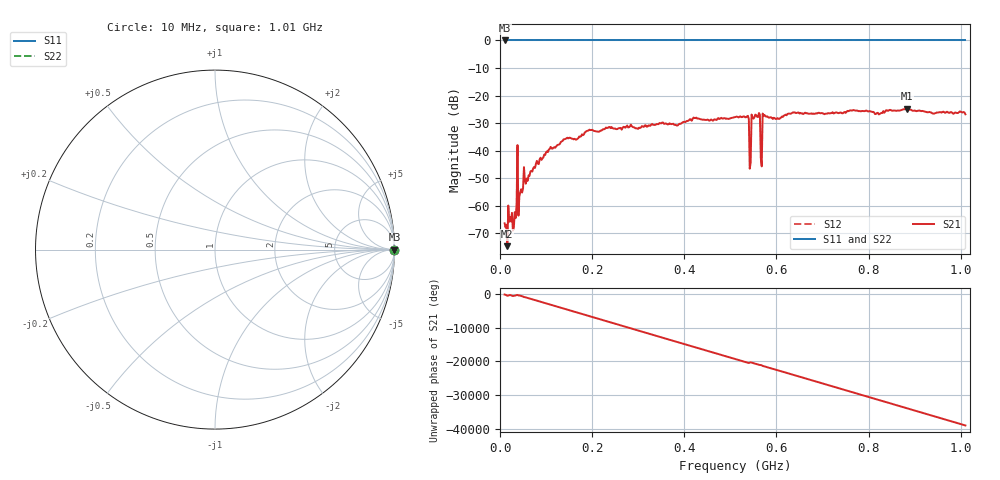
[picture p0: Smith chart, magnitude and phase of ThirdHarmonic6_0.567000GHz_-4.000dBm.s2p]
! 8/15/2025 6:09:14 PM
! C:\ANRITSUVNA\TEMP\TEMP.S2P
! CHANNEL.1
! TR.MEASUREMENT
! RAW.DATA
! RF.CORRECTION.OFF
! AVERAGING.OFF
! IF.BANDWIDTH: 5KHZ
! SWEEPTYPE:  FREQ.SWEEP(Linear)
! Reference Plane Port Info
! PORT:  PORT1  PORT2
! DISTANCE:  0  m  0  m
! TIME:  0  s  0  s
! PHASE.OFFSET:  0  deg.  0  deg.
! LOSS:  0  dB  0  dB
! REF.LOSS:  0  dB  0  dB
! REF.FREQ:  0  Hz  0  Hz
! Power Info
! POWER:  -20  dBm  -20  dBm
! EFF.POWER:  -20  dBm  -20  dBm
! SOURCE.ATTEN:  0  dB  0  dB
! TEST.ATTEN:  0  dB  0  dB
# GHZ S RI R 50.0
! FREQ.GHZ  S11RE  S11IM  S21RE  S21IM  S12RE  S12IM  S22RE  S22IM
!; PortSelection: Port_12
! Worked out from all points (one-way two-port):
!   501 points, 10 MHz to 1.01 GHz, reference 50 ohm
!   highest |S21| = -24.73 dB at 884 MHz (marker M1); lowest = -74.6 dB at 16 MHz (marker M2)
!   lowest |S11| = 0.0 dB at 10 MHz (marker M3)
!   |S11| at or under -10 dB: nowhere
!   |S22| runs from 0.0 to 0.0 dB; largest |S21 - S12| = 1.1
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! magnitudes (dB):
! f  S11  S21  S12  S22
! 10 MHz  0.0  -66.4  0.0  0.0
! 16 MHz  0.0  -74.6  0.0  0.0
! 32 MHz  0.0  -62.3  0.0  0.0
! 34 MHz  0.0  -64.5  0.0  0.0
! 42 MHz  0.0  -56.6  0.0  0.0
! 44 MHz  0.0  -55.1  0.0  0.0
! 84 MHz  0.0  -44.9  0.0  0.0
! 178 MHz  0.0  -34.0  0.0  0.0
! 344 MHz  0.0  -30.4  0.0  0.0
! 510 MHz  0.0  -27.8  0.0  0.0
! 536 MHz  0.0  -27.6  0.0  0.0
! 540 MHz  0.0  -28.5  0.0  0.0
! 544 MHz  0.0  -44.3  0.0  0.0
! 550 MHz  0.0  -28.4  0.0  0.0
! 560 MHz  0.0  -27.8  0.0  0.0
! 564 MHz  0.0  -26.9  0.0  0.0
! 570 MHz  0.0  -26.5  0.0  0.0
! 574 MHz  0.0  -27.0  0.0  0.0
! 678 MHz  0.0  -26.7  0.0  0.0
! 844 MHz  0.0  -25.3  0.0  0.0
! 884 MHz  0.0  -24.7  0.0  0.0
! 1.01 GHz  0.0  -26.8  0.0  0.0
